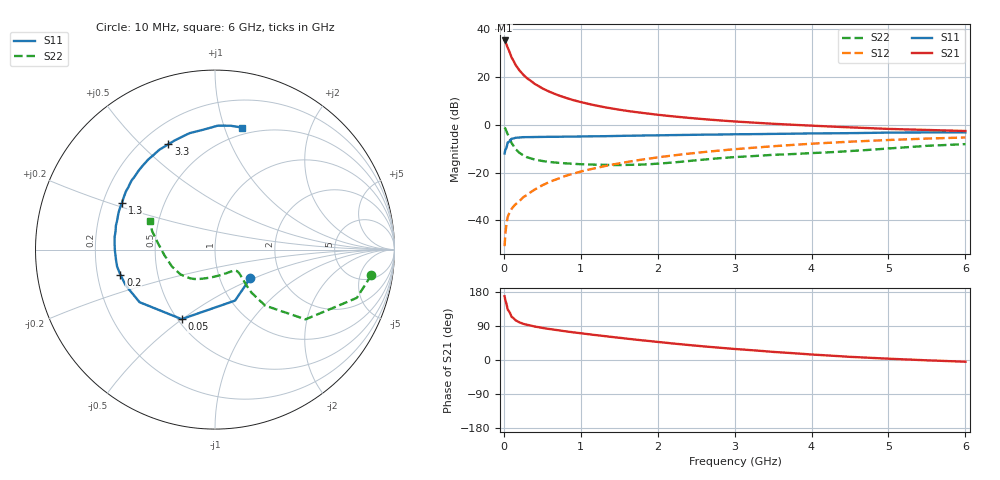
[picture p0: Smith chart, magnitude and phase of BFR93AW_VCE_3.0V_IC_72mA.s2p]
! (c) 2017  Infineon Technologies AG, Munich
! Infineon Technologies  Discrete & RF Semiconductors
! BFR93AW
! VCE =  3.0 V,  IC =  72 mA
! Common Emitter S-Parameters:  Jan 2017
# GHz  S  MA  R  50
!  f  S11  S21  S12  S22
! GHz  MAG  ANG  MAG  ANG  MAG  ANG  MAG  ANG
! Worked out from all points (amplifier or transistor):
!   77 points, 10 MHz to 6 GHz, reference 50 ohm
!   highest |S21| = 35.3 dB at 10 MHz (marker M1)
!   |S21| within 3 dB of that: start of sweep to 50.21 MHz
!   unconditionally stable (mu >= 1): 250.2 MHz to 2.584 GHz
!   at 130 MHz: K = 0.78, MSG = 30.3 dB, |S12| = -34.0 dB
!   at 2.2 GHz: K = 1.03, MAG = 7.1 dB, |S12| = -12.8 dB
!   at 6 GHz: K = 0.95, MSG = 1.4 dB, |S12| = -5.3 dB
!   S11 on the Smith chart (normalised r, x): 10 MHz: 1.40, -0.47; 50 MHz: 0.52, -0.50; 200 MHz: 0.30, -0.12; 1.3 GHz: 0.28, +0.22; 3.3 GHz: 0.30, +0.61; 6 GHz: 0.44, +1.15
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0.01  0.2529 -38.7  58.45 168.2  0.0029 71.4  0.8831 -9.2
0.02  0.3053 -68.5  56 157.4  0.0053 77.0  0.8346 -18.8
0.05  0.4295 -115.6  41.45 133.3  0.0119 58.8  0.6368 -37.6
0.1  0.5123 -145.1  25.92 114.1  0.0174 59.2  0.418 -48.2
0.15  0.536 -158.2  18.27 105.1  0.0217 60.8  0.3157 -49.7
0.2  0.5452 -165.1  13.99 99.6  0.0252 65.7  0.2627 -48.6
0.25  0.5536 -170.1  11.35 95.6  0.0305 66.0  0.2315 -47.0
0.3  0.5544 -174.0  9.508 92.9  0.0342 68.9  0.2108 -45.8
0.4  0.5577 -179.4  7.225 88.3  0.0442 71.3  0.1883 -44.3
0.5  0.5609 176.2  5.818 84.7  0.0544 72.7  0.1758 -44.2
0.6  0.5636 172.6  4.889 81.5  0.0649 73.2  0.167 -45.0
0.7  0.5633 169.5  4.211 78.7  0.0742 73.5  0.1613 -46.3
0.9  0.5688 163.5  3.308 73.1  0.095 72.8  0.1538 -51.5
1.1  0.5761 158.4  2.752 68.1  0.1156 72.3  0.1491 -57.4
1.3  0.5799 153.4  2.36 63.3  0.1358 71.2  0.1463 -64.7
1.6  0.593 146.7  1.967 56.3  0.1673 68.9  0.1456 -77.3
2.1  0.608 136.0  1.567 45.7  0.2192 64.0  0.1587 -100.6
3.1  0.638 117.3  1.154 27.7  0.319 53.1  0.2161 -133.9
3.3  0.642 113.8  1.103 24.7  0.3381 50.8  0.2255 -139.3
4.1  0.6649 100.8  0.948 13.3  0.4119 41.6  0.2611 -161.6
5.1  0.6911 87.5  0.816 2.6  0.4895 29.9  0.3292 171.1
6  0.6966 77.4  0.745 -4.6  0.5455 19.7  0.3961 156.1
